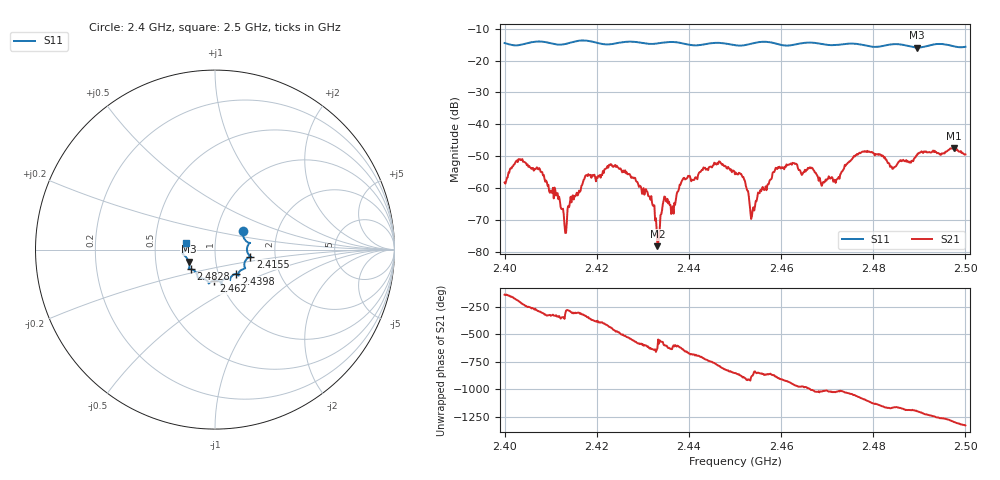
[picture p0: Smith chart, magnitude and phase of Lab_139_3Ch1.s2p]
# Hz S RI R 50
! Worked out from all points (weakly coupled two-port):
!   601 points, 2.4 GHz to 2.5 GHz, reference 50 ohm
!   highest |S21| = -47.36 dB at 2.4975 GHz (marker M1); lowest = -78.2 dB at 2.4332 GHz (marker M2)
!   lowest |S11| = -15.9 dB at 2.4895 GHz (marker M3), VSWR 1.38, Z = 37 - j5.05 ohm
!   |S11| at or under -10 dB: start of sweep to end of sweep
!   S12 and S22 are empty: the file has one direction only
!   S11 on the Smith chart (normalised r, x): 2.4 GHz: 1.33, +0.29; 2.4155 GHz: 1.49, -0.12; 2.4398 GHz: 1.21, -0.34; 2.462 GHz: 0.93, -0.33; 2.4828 GHz: 0.74, -0.17; 2.5 GHz: 0.72, +0.06
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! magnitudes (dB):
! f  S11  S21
! 2.4 GHz  -14.5  -58.2
! 2.403 GHz  -15.2  -50.9
! 2.4073 GHz  -14.0  -54.1
! 2.413 GHz  -14.8  -71.7
! 2.4155 GHz  -13.9  -62.1
! 2.4167 GHz  -13.7  -59.3
! 2.4245 GHz  -14.5  -53.3
! 2.4313 GHz  -14.8  -62.6
! 2.4332 GHz  -14.6  -78.2
! 2.4333 GHz  -14.6  -77.1
! 2.4348 GHz  -14.3  -62.8
! 2.4365 GHz  -14.2  -65.7
! 2.4398 GHz  -15.0  -56.1
! 2.45 GHz  -15.2  -55.7
! 2.4538 GHz  -14.6  -66.9
! 2.462 GHz  -15.2  -52.4
! 2.4667 GHz  -14.4  -53.6
! 2.4828 GHz  -15.2  -51.0
! 2.4833 GHz  -15.0  -52.1
! 2.4895 GHz  -15.9  -49.7
! 2.4975 GHz  -15.5  -47.4
! 2.5 GHz  -15.7  -49.4
